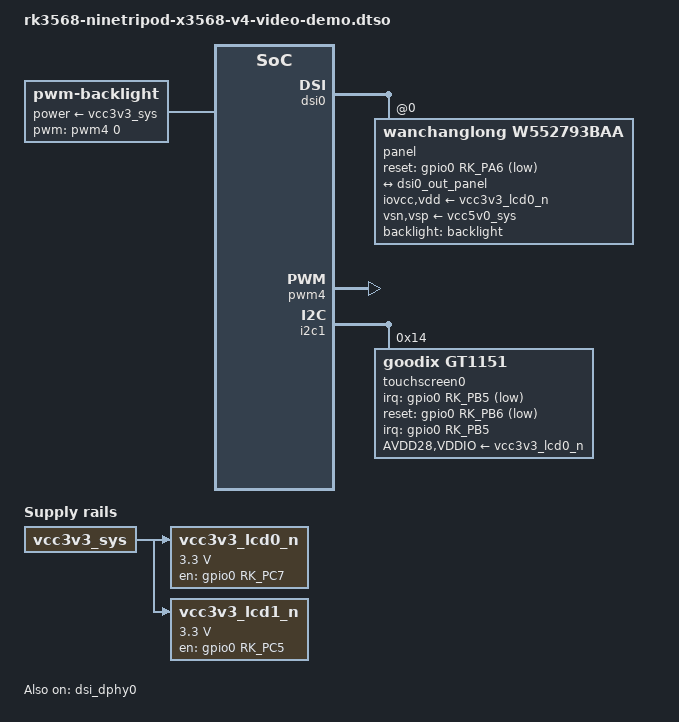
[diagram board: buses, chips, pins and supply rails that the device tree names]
// SPDX-License-Identifier: (GPL-2.0-or-later OR MIT)

// This is a sample reference, due to lack of hardware can not be tested, at your own risk

/dts-v1/;
/plugin/;

#include <dt-bindings/clock/rk3568-cru.h>
#include <dt-bindings/gpio/gpio.h>
#include <dt-bindings/interrupt-controller/irq.h>
#include <dt-bindings/pinctrl/rockchip.h>
#include <dt-bindings/soc/rockchip,vop2.h>

&{/} {	
	backlight: backlight {
		compatible = "pwm-backlight";
		brightness-levels = <20 220>;
		default-brightness-level = <100>;
		num-interpolated-steps = <200>;
		power-supply = <&vcc3v3_sys>;
		pwms = <&pwm4 0 25000 0>;
	};

	vcc3v3_lcd0_n: regulator-vcc3v3-lcd0-n {
		compatible = "regulator-fixed";
		regulator-name = "vcc3v3_lcd0_n";
		regulator-min-microvolt = <3300000>;
		regulator-max-microvolt = <3300000>;
		enable-active-high;
		gpio = <&gpio0 RK_PC7 GPIO_ACTIVE_HIGH>;
		vin-supply = <&vcc3v3_sys>;
		pinctrl-names = "default";
		pinctrl-0 = <&vcc3v3_lcd0_n_en>;

		regulator-state-mem {
			regulator-off-in-suspend;
		};
	};

	vcc3v3_lcd1_n: regulator-vcc3v3-lcd1-n {
		compatible = "regulator-fixed";
		regulator-name = "vcc3v3_lcd1_n";
		regulator-min-microvolt = <3300000>;
		regulator-max-microvolt = <3300000>;
		enable-active-high;
		gpio = <&gpio0 RK_PC5 GPIO_ACTIVE_HIGH>;
		vin-supply = <&vcc3v3_sys>;
		pinctrl-names = "default";
		pinctrl-0 = <&vcc3v3_lcd1_n_en>;

		regulator-state-mem {
			regulator-off-in-suspend;
		};
	};
};

&pinctrl {
	display {
		vcc3v3_lcd0_n_en: vcc3v3_lcd0_n_en {
			rockchip,pins = <0 RK_PC7 0 &pcfg_pull_none>;
		};
		vcc3v3_lcd1_n_en: vcc3v3_lcd1_n_en {
			rockchip,pins = <0 RK_PC5 0 &pcfg_pull_none>;
		};
	};

	touchscreen {
		touch_int: touch_int {
			rockchip,pins = <0 RK_PB5 RK_FUNC_GPIO &pcfg_pull_up>;
		};
		touch_rst: touch_rst {
			rockchip,pins = <0 RK_PB6 RK_FUNC_GPIO &pcfg_pull_none>;
		};
	};
};

&dsi0 {
	#address-cells = <1>;
	#size-cells = <0>;
	clock-master;
	status = "okay";

	panel@0 {
		compatible = "wanchanglong,w552793baa", "raydium,rm67200";
		reg = <0>;
		backlight = <&backlight>;
		iovcc-supply = <&vcc3v3_lcd0_n>;
		reset-gpios = <&gpio0 RK_PA6 GPIO_ACTIVE_LOW>;
		vdd-supply = <&vcc3v3_lcd0_n>;
		vsn-supply = <&vcc5v0_sys>;
		vsp-supply = <&vcc5v0_sys>;

		port {
			panel_in_dsi: endpoint {
				remote-endpoint = <&dsi0_out_panel>;
			};
		};
	};
};

&dsi0_in {
	#address-cells = <1>;
	#size-cells = <0>;

	dsi0_in_vp1: endpoint {
		remote-endpoint = <&vp1_out_dsi0>;
	};
};

&dsi0_out {
	#address-cells = <1>;
	#size-cells = <0>;

	dsi0_out_panel: endpoint {
		remote-endpoint = <&panel_in_dsi>;
	};
};

&dsi_dphy0 {
	status = "okay";
};

&pwm4 {
	status = "okay";
};

&i2c1 {
	#address-cells = <1>;
	#size-cells = <0>;
	status = "okay";

	touchscreen0: goodix@14 {
		compatible = "goodix,gt1151";
		reg = <0x14>;
		interrupt-parent = <&gpio0>;
		interrupts = <RK_PB5 IRQ_TYPE_EDGE_FALLING>;
		AVDD28-supply = <&vcc3v3_lcd0_n>;
		irq-gpios = <&gpio0 RK_PB5 GPIO_ACTIVE_LOW>;
		pinctrl-names = "default";
		pinctrl-0 = <&touch_int &touch_rst>;
		reset-gpios = <&gpio0 RK_PB6 GPIO_ACTIVE_LOW>;
		VDDIO-supply = <&vcc3v3_lcd0_n>;
	};
};

&vp1 {
	#address-cells = <1>;
	#size-cells = <0>;

	vp1_out_dsi0: endpoint@ROCKCHIP_VOP2_EP_MIPI0 {
		reg = <ROCKCHIP_VOP2_EP_MIPI0>;
		remote-endpoint = <&dsi0_in_vp1>;
	};
};
